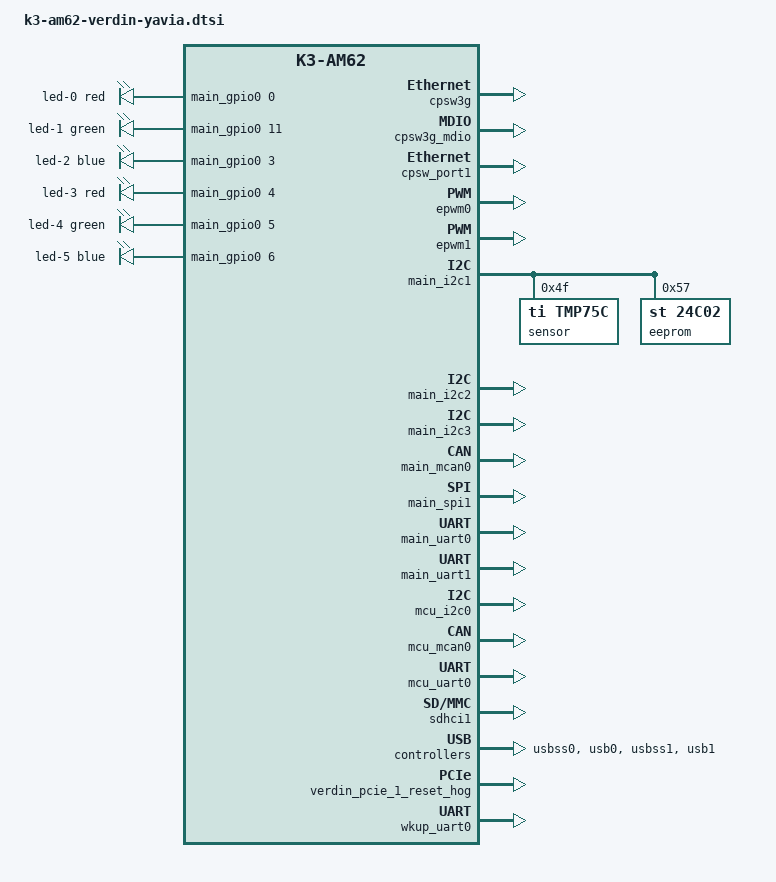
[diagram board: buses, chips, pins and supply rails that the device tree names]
// SPDX-License-Identifier: GPL-2.0-or-later OR MIT
/*
 * Copyright 2023 Toradex
 *
 * Common dtsi for Verdin AM62 SoM on Yavia carrier board
 *
 * https://www.toradex.com/computer-on-modules/verdin-arm-family/ti-am62
 * https://www.toradex.com/products/carrier-board/yavia
 */

#include <dt-bindings/leds/common.h>

/ {
	leds {
		compatible = "gpio-leds";
		pinctrl-names = "default";
		pinctrl-0 = <&pinctrl_qspi1_clk_gpio>,
			    <&pinctrl_qspi1_cs_gpio>,
			    <&pinctrl_qspi1_io0_gpio>,
			    <&pinctrl_qspi1_io1_gpio>,
			    <&pinctrl_qspi1_io2_gpio>,
			    <&pinctrl_qspi1_io3_gpio>;

		/* SODIMM 52 - LD1_RED */
		led-0 {
			color = <LED_COLOR_ID_RED>;
			function = LED_FUNCTION_DEBUG;
			function-enumerator = <1>;
			gpios = <&main_gpio0 0 GPIO_ACTIVE_HIGH>;
		};
		/* SODIMM 54 - LD1_GREEN */
		led-1 {
			color = <LED_COLOR_ID_GREEN>;
			function = LED_FUNCTION_DEBUG;
			function-enumerator = <1>;
			gpios = <&main_gpio0 11 GPIO_ACTIVE_HIGH>;
		};
		/* SODIMM 56 - LD1_BLUE */
		led-2 {
			color = <LED_COLOR_ID_BLUE>;
			function = LED_FUNCTION_DEBUG;
			function-enumerator = <1>;
			gpios = <&main_gpio0 3 GPIO_ACTIVE_HIGH>;
		};
		/* SODIMM 58 - LD2_RED */
		led-3 {
			color = <LED_COLOR_ID_RED>;
			function = LED_FUNCTION_DEBUG;
			function-enumerator = <2>;
			gpios = <&main_gpio0 4 GPIO_ACTIVE_HIGH>;
		};
		/* SODIMM 60 - LD2_GREEN */
		led-4 {
			color = <LED_COLOR_ID_GREEN>;
			function = LED_FUNCTION_DEBUG;
			function-enumerator = <2>;
			gpios = <&main_gpio0 5 GPIO_ACTIVE_HIGH>;
		};
		/* SODIMM 62 - LD2_BLUE */
		led-5 {
			color = <LED_COLOR_ID_BLUE>;
			function = LED_FUNCTION_DEBUG;
			function-enumerator = <2>;
			gpios = <&main_gpio0 6 GPIO_ACTIVE_HIGH>;
		};
	};
};

/* Verdin ETHs */
&cpsw3g {
	status = "okay";
};

/* MDIO, shared by Verdin ETH_1 (On-module PHY) and Verdin ETH_2_RGMII */
&cpsw3g_mdio {
	status = "okay";
};

/* Verdin ETH_1 (On-module PHY) */
&cpsw_port1 {
	status = "okay";
};

/* Verdin PWM_1, PWM_2 */
&epwm0 {
	status = "okay";
};

/* Verdin PWM_3_DSI */
&epwm1 {
	status = "okay";
};

&main_gpio0 {
	pinctrl-names = "default";
	pinctrl-0 = <&pinctrl_ctrl_sleep_moci>,
		    <&pinctrl_gpio_5>,
		    <&pinctrl_gpio_6>,
		    <&pinctrl_gpio_7>,
		    <&pinctrl_gpio_8>,
		    <&pinctrl_qspi1_cs2_gpio>;
};

&main_gpio1 {
	pinctrl-names = "default";
	pinctrl-0 = <&pinctrl_qspi1_dqs_gpio>;
};

/* Verdin I2C_1 */
&main_i2c1 {
	status = "okay";

	/* Temperature sensor */
	sensor@4f {
		compatible = "ti,tmp75c";
		reg = <0x4f>;
	};

	/* EEPROM */
	eeprom@57 {
		compatible = "st,24c02", "atmel,24c02";
		reg = <0x57>;
		pagesize = <16>;
	};
};

/* Verdin I2C_2_DSI */
&main_i2c2 {
	status = "okay";
};

/* Verdin I2C_4_CSI */
&main_i2c3 {
	status = "okay";
};

/* Verdin CAN_1 */
&main_mcan0 {
	status = "okay";
};

/* Verdin SPI_1 */
&main_spi1 {
	status = "okay";
};

/* Verdin UART_3 */
&main_uart0 {
	status = "okay";
};

/* Verdin UART_1 */
&main_uart1 {
	status = "okay";
};

&mcu_gpio0 {
	pinctrl-names = "default";
	pinctrl-0 = <&pinctrl_gpio_1>,
		    <&pinctrl_gpio_2>,
		    <&pinctrl_gpio_3>,
		    <&pinctrl_gpio_4>,
		    <&pinctrl_pcie_1_reset>;
};

/* Verdin I2C_3_HDMI */
&mcu_i2c0 {
	status = "okay";
};

/* Verdin CAN_2 */
&mcu_mcan0 {
	status = "okay";
};

/* Verdin UART_4 */
&mcu_uart0 {
	status = "okay";
};

/* Verdin SD_1 */
&sdhci1 {
	status = "okay";
};

/* Verdin USB_1 */
&usbss0 {
	status = "okay";
};

&usb0 {
	status = "okay";
};

/* Verdin USB_2 */
&usbss1 {
	status = "okay";
};

&usb1 {
	status = "okay";
};

/* Verdin CTRL_WAKE1_MICO# */
&verdin_gpio_keys {
	status = "okay";
};

/* Verdin PCIE_1_RESET# */
&verdin_pcie_1_reset_hog {
	status = "okay";
};

/* Verdin UART_2 */
&wkup_uart0 {
	status = "okay";
};
